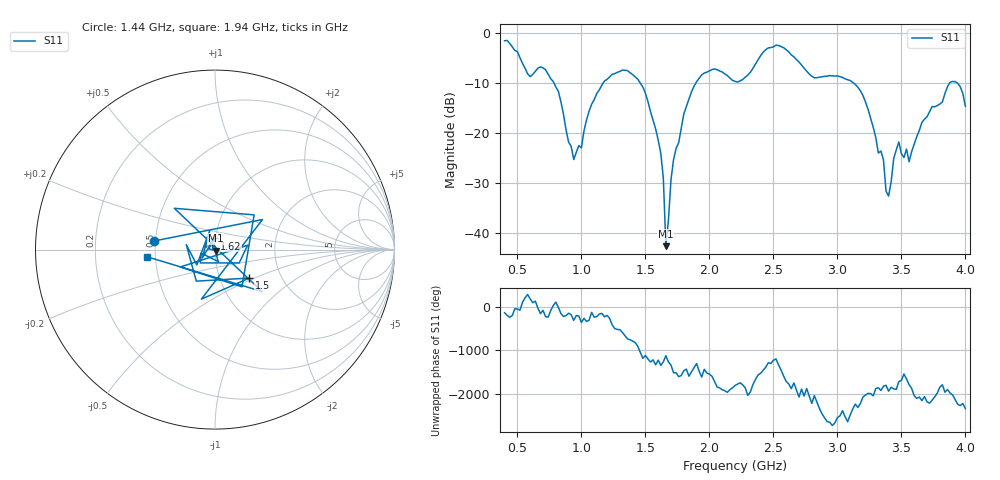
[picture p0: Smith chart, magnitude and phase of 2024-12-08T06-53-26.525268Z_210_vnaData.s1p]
!Created with skrf (http://scikit-rf.org).
# Hz S RI R 50.0
!freq ReS11 ImS11
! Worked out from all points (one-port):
!   181 points, 400 MHz to 4 GHz, reference 50 ohm
!   lowest |S11| = -42.7 dB at 1.66 GHz (marker M1), VSWR 1.01, Z = 50.5 - j0.523 ohm
!   |S11| at or under -10 dB: 784.1 MHz to 1.172 GHz (387.6 MHz wide, 39.6 % of centre); 1.458 GHz to 1.896 GHz (438.1 MHz wide, 26.1 % of centre); 3.122 GHz to 3.878 GHz (756.8 MHz wide, 21.6 % of centre) (the widest 3 of 4)
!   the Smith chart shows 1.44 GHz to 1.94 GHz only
!   S11 on the Smith chart (normalised r, x): 1.44 GHz: 0.49, +0.05; 1.5 GHz: 1.38, -0.47; 1.62 GHz: 0.98, +0.12; 1.94 GHz: 0.45, -0.04
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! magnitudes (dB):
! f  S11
! 400 MHz  -1.6
! 600 MHz  -8.8
! 720 MHz  -7.4
! 860 MHz  -16.3
! 940 MHz  -25.4
! 1.12 GHz  -12.2
! 1.3 GHz  -7.7
! 1.44 GHz  -9.3
! 1.5 GHz  -12.1
! 1.62 GHz  -24.1
! 1.64 GHz  -29.1
! 1.66 GHz  -42.7
! 1.7 GHz  -29.4
! 1.76 GHz  -22.0
! 1.8 GHz  -16.3
! 1.94 GHz  -8.4
! 2.2 GHz  -9.7
! 2.46 GHz  -3.1
! 2.66 GHz  -4.8
! 3.1 GHz  -9.6
! 3.24 GHz  -15.4
! 3.36 GHz  -25.4
! 3.4 GHz  -32.7
! 3.48 GHz  -21.9
! 3.56 GHz  -25.8
! 3.66 GHz  -18.0
! 3.88 GHz  -9.9
! 4 GHz  -14.7
